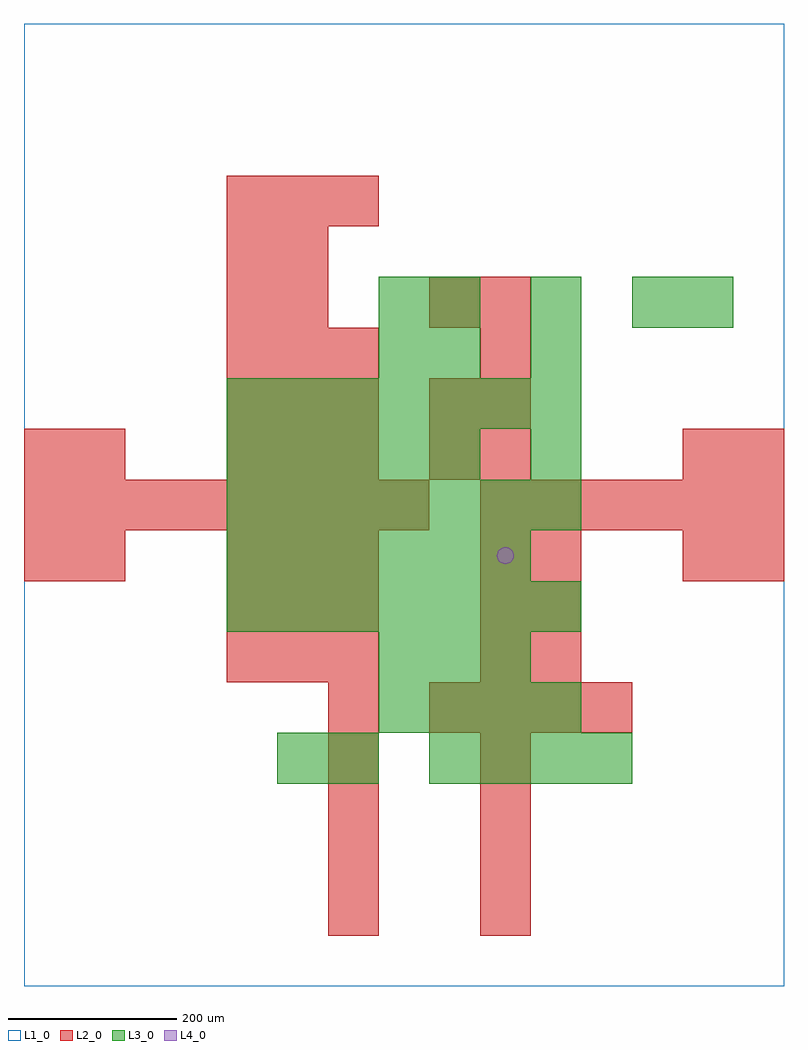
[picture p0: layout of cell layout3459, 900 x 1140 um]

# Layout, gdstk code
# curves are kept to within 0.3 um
import gdstk
lib = gdstk.Library(unit=1e-6, precision=1e-09)
def R(c, l, rs):  # rectangles x0, y0, x1, y1
    for r in rs: c.add(gdstk.rectangle(r[:2], r[2:], *l))
def A(c, l, x, y, w, h, nx, ny, dx, dy):  # array of equal rectangles
    R(c, l, [(x+i*dx, y+j*dy, x+i*dx+w, y+j*dy+h) for i in range(nx) for j in range(ny)])
def P(c, l, *ps):  # polygons
    for p in ps: c.add(gdstk.Polygon(p, *l))
L1_0 = (1, 0)
L2_0 = (2, 0)
L3_0 = (3, 0)
L4_0 = (4, 0)

layout3459 = lib.new_cell('layout3459')
R(layout3459, L1_0, [(0,0,900,1140)])
A(layout3459, L2_0, 360, 60, 60, 60, 1, 5, 0, 60)
A(layout3459, L2_0, 540, 60, 60, 60, 1, 4, 0, 60)
A(layout3459, L2_0, 480, 300, 60, 60, 4, 1, 60, 0)
A(layout3459, L2_0, 240, 360, 60, 60, 3, 3, 60, 60)
A(layout3459, L2_0, 540, 360, 60, 60, 1, 3, 0, 60)
A(layout3459, L2_0, 600, 360, 60, 60, 1, 3, 0, 60)
A(layout3459, L2_0, 0, 540, 60, 60, 8, 1, 60, 0)
A(layout3459, L2_0, 540, 540, 60, 60, 6, 1, 60, 0)
A(layout3459, L2_0, 240, 600, 60, 60, 3, 3, 60, 60)
A(layout3459, L2_0, 540, 600, 60, 60, 1, 4, 0, 60)
A(layout3459, L2_0, 240, 900, 60, 60, 3, 1, 60, 0)
R(layout3459, L2_0, [(0,480,60,540), (60,480,120,540), (780,480,840,540), (840,480,900,540), (0,600,60,660), (60,600,120,660), (480,600,540,660), (780,600,840,660), (840,600,900,660), (480,660,540,720), (240,780,300,840), (300,780,360,840), (480,780,540,840), (240,840,300,900), (300,840,360,900)])
A(layout3459, L3_0, 480, 240, 60, 60, 4, 1, 60, 0)
A(layout3459, L3_0, 420, 300, 60, 60, 4, 1, 60, 0)
A(layout3459, L3_0, 420, 360, 60, 60, 3, 1, 60, 0)
A(layout3459, L3_0, 240, 420, 60, 60, 7, 3, 60, 120)
A(layout3459, L3_0, 240, 480, 60, 60, 6, 1, 60, 0)
A(layout3459, L3_0, 240, 600, 60, 60, 5, 1, 60, 0)
A(layout3459, L3_0, 480, 780, 60, 60, 3, 1, 120, 0)
R(layout3459, L3_0, [(300,240,360,300), (360,240,420,300), (600,600,660,660), (420,720,480,780), (480,720,540,780), (600,720,660,780), (420,780,480,840), (780,780,840,840)])
P(layout3459, L4_0, [(580,510),(579.239,513.827),(577.071,517.071),(573.827,519.239),(570,520),(566.173,519.239),(562.929,517.071),(560.761,513.827),(560,510),(560.761,506.173),(562.929,502.929),(566.173,500.761),(570,500),(573.827,500.761),(577.071,502.929),(579.239,506.173)])

lib.write_gds('layout3459.gds')
